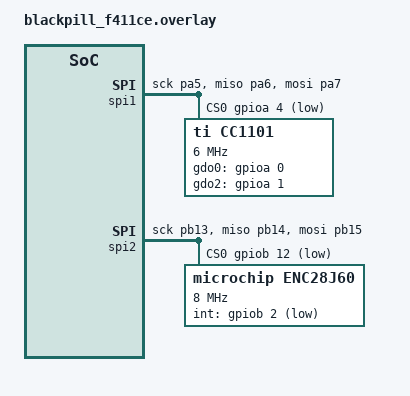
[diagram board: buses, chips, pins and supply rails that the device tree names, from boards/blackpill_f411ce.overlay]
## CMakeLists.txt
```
cmake_minimum_required(VERSION 3.20.0)
find_package(Zephyr REQUIRED HINTS $ENV{ZEPHYR_BASE})
project(tado_cc1101_receiver)

target_sources(app PRIVATE
    src/cc1101.c
    src/ha_client.c
    src/main.c
)
```

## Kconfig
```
mainmenu "TADO CC1101 Receiver"

source "Kconfig.zephyr"

menu "Home Assistant"

config HA_SERVER_IP
	string "Home Assistant server IP address"
	default "192.168.1.248"

config HA_SERVER_PORT
	int "Home Assistant server port"
	default 8123

config HA_LONG_LIVED_TOKEN
	string "Home Assistant long-lived access token"
	default ""

endmenu
```

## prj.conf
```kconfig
# Serial / Console
CONFIG_SERIAL=y
CONFIG_UART_INTERRUPT_DRIVEN=y
CONFIG_CONSOLE=y
CONFIG_UART_CONSOLE=y

# GPIO
CONFIG_GPIO=y

# SPI
CONFIG_SPI=y
CONFIG_SPI_STM32_INTERRUPT=n

# Logging
CONFIG_LOG=y
CONFIG_PRINTK=y

# Stack / MPU
CONFIG_ARM_MPU=y
CONFIG_HW_STACK_PROTECTION=y

# Networking
CONFIG_NETWORKING=y
CONFIG_NET_L2_ETHERNET=y
CONFIG_NET_IPV4=y
CONFIG_NET_IPV6=n
CONFIG_NET_DHCPV4=y
CONFIG_NET_ARP=y
CONFIG_NET_UDP=y
CONFIG_NET_TCP=y
CONFIG_NET_TCP_TIME_WAIT_DELAY=0
CONFIG_NET_SOCKETS=y
CONFIG_NET_CONFIG_SETTINGS=n

# Network buffers
CONFIG_NET_PKT_RX_COUNT=10
CONFIG_NET_PKT_TX_COUNT=10
CONFIG_NET_BUF_RX_COUNT=20
CONFIG_NET_BUF_TX_COUNT=20
CONFIG_NET_MAX_CONTEXTS=8

# Network management events
CONFIG_NET_MGMT=y
CONFIG_NET_MGMT_EVENT=y
CONFIG_NET_MGMT_EVENT_INFO=y

# ENC28J60 driver
CONFIG_ETH_ENC28J60=y
CONFIG_ETH_ENC28J60_CLKRDY_INIT_WAIT_MS=500
CONFIG_ETH_ENC28J60_RX_THREAD_STACK_SIZE=2048

# Entropy / random number generator (required by networking)
CONFIG_ENTROPY_GENERATOR=y
CONFIG_TEST_RANDOM_GENERATOR=y

# Thread stacks (networking needs more)
CONFIG_MAIN_STACK_SIZE=4096
CONFIG_SYSTEM_WORKQUEUE_STACK_SIZE=4096
CONFIG_NET_RX_STACK_SIZE=4096
CONFIG_NET_TX_STACK_SIZE=2048
CONFIG_NET_MGMT_EVENT_STACK_SIZE=4096

# HTTP client
CONFIG_HTTP_CLIENT=y
CONFIG_HTTP_PARSER=y
CONFIG_HTTP_PARSER_URL=y

# Home Assistant
CONFIG_HA_SERVER_IP="192.168.1.248"
CONFIG_HA_SERVER_PORT=8123
CONFIG_HA_LONG_LIVED_TOKEN="eyJhbGciOiJIUzI1NiIsInR5cCI6IkpXVCJ9.eyJpc3MiOiI0NDBiNWNiYmU2ODQ0YzQ1OWQzY2YzY2ZjYjcxNjNlNSIsImlhdCI6MTc3ODYyMDM2MCwiZXhwIjoyMDkzOTgwMzYwfQ.2nTJXxqT6kt5Z0gOvMKW4DaY6RnnXOB4O1CUAFeYb3I"

# Flash (persist webhook_id across reboots)
CONFIG_FLASH=y
CONFIG_FLASH_MAP=y
CONFIG_FLASH_PAGE_LAYOUT=y
```

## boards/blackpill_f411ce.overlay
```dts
/* Override SPI1: remove hardware NSS, use GPIO-controlled CS instead */
&spi1 {
	pinctrl-0 = <&spi1_sck_pa5 &spi1_miso_pa6 &spi1_mosi_pa7>;
	pinctrl-names = "default";
	status = "okay";
	cs-gpios = <&gpioa 4 GPIO_ACTIVE_LOW>;

	cc1101: cc1101@0 {
		compatible = "ti,cc1101";
		reg = <0>;
		spi-max-frequency = <6000000>;
		gdo0-gpios = <&gpioa 0 GPIO_ACTIVE_HIGH>;
		gdo2-gpios = <&gpioa 1 GPIO_ACTIVE_HIGH>;
		status = "okay";
	};
};

/* ENC28J60 Ethernet on SPI2 */
&spi2 {
	pinctrl-0 = <&spi2_sck_pb13 &spi2_miso_pb14 &spi2_mosi_pb15>;
	pinctrl-names = "default";
	status = "okay";
	cs-gpios = <&gpiob 12 GPIO_ACTIVE_LOW>;

	enc28j60: enc28j60@0 {
		compatible = "microchip,enc28j60";
		reg = <0>;
		spi-max-frequency = <8000000>;
		int-gpios = <&gpiob 2 GPIO_ACTIVE_LOW>;
		local-mac-address = [02 00 00 00 00 01];
		status = "okay";
	};
};

/* Remove MCUboot partitions we don't use, add NVS storage partition.
 * STM32F411CE sectors 6+7 (each 128 KB) at offsets 0x40000-0x7FFFF. */
/delete-node/ &boot_partition;
/delete-node/ &slot0_partition;
/delete-node/ &slot1_partition;
/delete-node/ &scratch_partition;

&flash0 {
	partitions {
		compatible = "fixed-partitions";
		#address-cells = <1>;
		#size-cells = <1>;

		storage_partition: partition@40000 {
			label = "storage";
			reg = <0x40000 0x40000>;
		};
	};
};
```

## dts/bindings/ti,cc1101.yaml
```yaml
description: Texas Instruments CC1101 Sub-1GHz RF Transceiver

compatible: "ti,cc1101"

include: spi-device.yaml

properties:
  gdo0-gpios:
    type: phandle-array
    description: GDO0 output pin (active high)
  gdo2-gpios:
    type: phandle-array
    description: GDO2 output pin (active high)
```

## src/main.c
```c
/*
 * TADO CC1101 Receiver — Zephyr application
 *
 * SPDX-License-Identifier: Apache-2.0
 */

#include <zephyr/kernel.h>
#include <zephyr/logging/log.h>
#include <zephyr/net/net_if.h>

#include <zephyr/net/dhcpv4.h>
#include <zephyr/net/net_event.h>
#include <zephyr/net/net_mgmt.h>

#include "cc1101.h"
#include "ha_client.h"

LOG_MODULE_REGISTER(main, CONFIG_LOG_DEFAULT_LEVEL);

/* ── Sensor state tracking ──────────────────────────────────────────── */

#define MAX_SENSORS 16
#define PAYLOAD_LEN_OLD 7
#define PAYLOAD_LEN_NEW 9

typedef struct sensor_state {
  uint32_t device_id;

  // Values from last packet (0 or 1, or 0xFF if unknown)
  uint8_t tamper;
  uint8_t reed;
  uint16_t battery_mv;

  // Values last sent to HA, for change detection
  uint8_t tamper_sent;
  uint8_t reed_sent;
  uint16_t battery_mv_sent;

  // Additional for metrics
  int rssi;
  uint8_t lqi;

} sensor_state_t;

static sensor_state_t sensors[MAX_SENSORS];
static int sensor_count;

static sensor_state_t *find_or_add_sensor(uint32_t dev_id) {
  for (int i = 0; i < sensor_count; i++) {
    if (sensors[i].device_id == dev_id) {
      return &sensors[i];
    }
  }
  if (sensor_count < MAX_SENSORS) {
    sensor_state_t *s = &sensors[sensor_count];
    s->device_id = dev_id;
    s->tamper = 0xFF; /* force first update */
    s->reed = 0xFF;
    s->battery_mv = 0xFFFF;
    s->tamper_sent = 0xFF;
    s->reed_sent = 0xFF;
    s->battery_mv_sent = 0xFFFF;

    return &sensors[sensor_count++];
  }
  return NULL;
}

static bool verify_checksum(const uint8_t *payload, uint8_t len) {
  uint8_t xor_val = 0;
  for (int i = 0; i < len - 1; i++) {
    xor_val ^= payload[i];
  }
  return xor_val == payload[len - 1];
}

static void process_packet(const uint8_t *payload, uint8_t len, int rssi,
                           uint8_t lqi) {
  if (len != PAYLOAD_LEN_OLD && len != PAYLOAD_LEN_NEW) {
    LOG_WRN("Unexpected payload length: %d", len);
    return;
  }

  if (!verify_checksum(payload, len)) {
    LOG_WRN("Checksum mismatch");
    return;
  }

  uint32_t dev_id = ((uint32_t)payload[0] << 24) |
                    ((uint32_t)payload[1] << 16) | ((uint32_t)payload[2] << 8) |
                    payload[3];

  sensor_state_t *s = find_or_add_sensor(dev_id);
  if (!s) {
    LOG_WRN("Sensor table full, ignoring %08x", dev_id);
    return;
  }

  s->tamper = payload[4];
  s->reed = payload[5];

  if (len == PAYLOAD_LEN_NEW) {
    s->battery_mv = ((uint16_t)payload[6] << 8) | payload[7];
  }
  s->rssi = rssi;
  s->lqi = lqi;

  LOG_INF("Sensor %08x: tamper=%u reed=%u batt=%umV RSSI=%d LQI=%u", dev_id,
          s->tamper, s->reed, s->battery_mv, s->rssi, s->lqi);
}

static void sync_sensors_to_ha(void) {
  for (int i = 0; i < sensor_count; i++) {
    sensor_state_t *s = &sensors[i];

    if (s->tamper != s->tamper_sent) {
      int ret = ha_update_sensor(s->device_id, "tamper", s->tamper != 0,
                                 s->rssi, s->lqi);
      if (ret < 0) {
        LOG_WRN("Failed to update %08x_%s: %d", s->device_id, "tamper", ret);
      } else {
        s->tamper_sent = s->tamper;
      }
    }

    if (s->reed != s->reed_sent) {
      int ret =
          ha_update_sensor(s->device_id, "reed", s->reed != 0, s->rssi, s->lqi);
      if (ret < 0) {
        LOG_WRN("Failed to update %08x_%s: %d", s->device_id, "reed", ret);
      } else {
        s->reed_sent = s->reed;
      }
    }

    if (s->battery_mv != s->battery_mv_sent) {
      int ret = ha_update_battery(s->device_id, s->battery_mv, s->rssi, s->lqi);
      if (ret < 0) {
        LOG_WRN("Failed to update %08x_%s: %d", s->device_id, "battery_mv",
                ret);
      } else {
        s->battery_mv_sent = s->battery_mv;
      }
    }
  }
}

static struct net_mgmt_event_callback mgmt_cb;
static bool got_ip = false;

static void net_event_handler(struct net_mgmt_event_callback *cb,
                              uint64_t mgmt_event, struct net_if *iface) {
  if (mgmt_event == NET_EVENT_IPV4_DHCP_BOUND) {
    char buf[NET_IPV4_ADDR_LEN];

    LOG_INF("DHCP bound: %s",
            net_addr_ntop(AF_INET, &iface->config.dhcpv4.requested_ip, buf,
                          sizeof(buf)));
    got_ip = true;
  }
}

static void start_dhcp(void) {
  struct net_if *iface = net_if_get_default();

  if (!iface) {
    LOG_ERR("No network interface found");
    return;
  }

  net_mgmt_init_event_callback(&mgmt_cb, net_event_handler,
                               NET_EVENT_IPV4_DHCP_BOUND);
  net_mgmt_add_event_callback(&mgmt_cb);

  net_dhcpv4_start(iface);
  LOG_INF("DHCP client started");
}

static uint8_t buffer[64];

int main(void) {
  LOG_INF("TADO CC1101 Receiver");

  /* Start DHCP to obtain an IP address */
  start_dhcp();

  int ret = cc1101_init();
  if (ret < 0) {
    LOG_ERR("CC1101 init failed: %d", ret);
    return ret;
  }
  LOG_INF("C1101 OK");

  /* Enter RX mode */
  cc1101_set_rx();
  LOG_INF("Listening for packets...");

  while (1) {

    // Read data from radio, block max one second so we do reattempts on sending
    // sensor data in-between
    if (cc1101_wait_rx_packet(K_SECONDS(1)) == 0) {
      if (cc1101_check_crc()) {
        uint8_t len = cc1101_receive_data(buffer);
        if (len > 0) {
          int rssi = cc1101_get_rssi();
          uint8_t lqi = cc1101_get_lqi();

          LOG_INF("LENGTH: %d RSSI: %d LQI: %d", len, rssi, lqi);
          LOG_HEXDUMP_INF(buffer, len, "RX data");

          process_packet(buffer, len, rssi, lqi);
        }
      }
    } else {
      LOG_DBG("No packet received");
    }

    if (got_ip) {

      if (!ha_is_registered()) {
        /* Register with Home Assistant */
        LOG_INF("Registering with Home Assistant...");
        int ha_ret = ha_init();
        if (ha_ret < 0) {
          LOG_WRN("HA registration failed: %d (will retry)", ha_ret);
        } else {
          LOG_INF("HA registered, waiting for sensor data...");
        }
      }

      if (ha_is_registered()) {
        sync_sensors_to_ha();
      }
    }

    k_msleep(1);
  }
  return 0;
}
```

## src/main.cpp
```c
#include <Arduino.h>
#include <SPI.h>

#include <ELECHOUSE_CC1101_SRC_DRV.h>

void setup() {
  Serial.setRx(PA10);
  Serial.setTx(PA9);
  Serial.begin(115200);
  delay(1000);
  ELECHOUSE_cc1101.setSpiPin(PA5, PA6, PA7, PA4);
  ELECHOUSE_cc1101.setGDO(PA0, PA1);
  if (ELECHOUSE_cc1101.getCC1101()) { // Check the CC1101 Spi connection.
    Serial.println("Connection OK");
  } else {
    Serial.println("Connection Error");
  }

  ELECHOUSE_cc1101.Init(); // must be set to initialize the cc1101!
  // ELECHOUSE_cc1101.setCCMode(1); // set config for internal transmission
  // mode.

  // Radio configuration per PROTOCOL.md
  ELECHOUSE_cc1101.setModulation(1);  // GFSK (transmitter uses MOD_FORMAT=001)
  ELECHOUSE_cc1101.setMHZ(868.0);     // 868.0 MHz
  ELECHOUSE_cc1101.setDeviation(5.2); // 5.2 kHz
  ELECHOUSE_cc1101.setChannel(0);
  ELECHOUSE_cc1101.setChsp(200);
  ELECHOUSE_cc1101.setRxBW(58);             // 58 kHz RX bandwidth
  ELECHOUSE_cc1101.setDRate(1.2);           // 1.2 kbps
  ELECHOUSE_cc1101.setPA(12);               // +10 dBm (PA_TABLE 0xC0)
  ELECHOUSE_cc1101.setSyncMode(3);          // 30/32 sync word detect
  ELECHOUSE_cc1101.setSyncWord(0xD3, 0x91); // 0xD391D391
  ELECHOUSE_cc1101.setAdrChk(0);            // No address check
  ELECHOUSE_cc1101.setAddr(0);
  ELECHOUSE_cc1101.setWhiteData(0);      // Data whitening disabled
  ELECHOUSE_cc1101.setPktFormat(0);      // Normal mode
  ELECHOUSE_cc1101.setLengthConfig(1);   // Variable packet length
  ELECHOUSE_cc1101.setPacketLength(255); // Max packet length
  ELECHOUSE_cc1101.setCrc(1);            // CRC enabled
  ELECHOUSE_cc1101.setCRC_AF(0);         // No auto flush on bad CRC
  ELECHOUSE_cc1101.setDcFilterOff(0);    // DC filter enabled
  ELECHOUSE_cc1101.setManchester(0);
  ELECHOUSE_cc1101.setFEC(0);
  ELECHOUSE_cc1101.setPRE(2); // 4-byte preamble
  ELECHOUSE_cc1101.setPQT(0);
  ELECHOUSE_cc1101.setAppendStatus(1); // Append RSSI+LQI+CRC_OK

  // Direct register writes per PROTOCOL.md
  ELECHOUSE_cc1101.SpiWriteReg(CC1101_FIFOTHR, 0x47); // RX FIFO threshold
  ELECHOUSE_cc1101.SpiWriteReg(CC1101_FSCTRL1, 0x06); // IF frequency
  ELECHOUSE_cc1101.SpiWriteReg(CC1101_FOCCFG, 0x16); // Freq offset compensation
  ELECHOUSE_cc1101.SpiWriteReg(CC1101_BSCFG, 0x6C);  // Bit sync config
  ELECHOUSE_cc1101.SpiWriteReg(CC1101_AGCCTRL2, 0x03);
  ELECHOUSE_cc1101.SpiWriteReg(CC1101_AGCCTRL1, 0x40);
  ELECHOUSE_cc1101.SpiWriteReg(CC1101_AGCCTRL0, 0x91);
  ELECHOUSE_cc1101.SpiWriteReg(CC1101_FREND1, 0xB6); // Front-end RX
  ELECHOUSE_cc1101.SpiWriteReg(CC1101_FREND0, 0x10); // Front-end TX
  ELECHOUSE_cc1101.SpiWriteReg(CC1101_FSCAL3, 0xE9); // Freq synth cal
  ELECHOUSE_cc1101.SpiWriteReg(CC1101_FSCAL2, 0x2A);
  ELECHOUSE_cc1101.SpiWriteReg(CC1101_FSCAL1, 0x00);
  ELECHOUSE_cc1101.SpiWriteReg(CC1101_FSCAL0, 0x1F);
  ELECHOUSE_cc1101.SpiWriteReg(CC1101_TEST2, 0x81);
  ELECHOUSE_cc1101.SpiWriteReg(CC1101_TEST1, 0x35);
  ELECHOUSE_cc1101.SpiWriteReg(CC1101_TEST0, 0x09);
  ELECHOUSE_cc1101.SpiWriteReg(CC1101_IOCFG0,
                               0x06); // GDO0: sync word (Init sets 0x0D)
  ELECHOUSE_cc1101.SpiWriteReg(
      CC1101_DEVIATN, 0x15); // Exact match transmitter (library gives 0x16)

  Serial.println("Rx Mode");
  ELECHOUSE_cc1101.SpiWriteReg(
      CC1101_FSCTRL0,
      0x0); // reset frequency offset to 0 (Init sets 0x08)

#if 0
  Serial.printf("Partnum: %x\r\n",
                ELECHOUSE_cc1101.SpiReadStatus(CC1101_PARTNUM));
  Serial.printf("Version: %x\r\n",
                ELECHOUSE_cc1101.SpiReadStatus(CC1101_VERSION));
  Serial.printf("FREQEST: %x\r\n",
                ELECHOUSE_cc1101.SpiReadStatus(CC1101_FREQEST));
  Serial.printf("LQI: %x\r\n", ELECHOUSE_cc1101.SpiReadStatus(CC1101_LQI));
  Serial.printf("RSSI: %x\r\n", ELECHOUSE_cc1101.SpiReadStatus(CC1101_RSSI));
  Serial.printf("MARCSTATE: %x\r\n",
                ELECHOUSE_cc1101.SpiReadStatus(CC1101_MARCSTATE));
  Serial.printf("WORTIME1: %x\r\n",
                ELECHOUSE_cc1101.SpiReadStatus(CC1101_WORTIME1));
  Serial.printf("WORTIME0: %x\r\n",
                ELECHOUSE_cc1101.SpiReadStatus(CC1101_WORTIME0));
  Serial.printf("PKTSTATUS: %x\r\n",
                ELECHOUSE_cc1101.SpiReadStatus(CC1101_PKTSTATUS));
  Serial.printf("CC1101_VCO_VC_DAC: %x\r\n",
                ELECHOUSE_cc1101.SpiReadStatus(CC1101_VCO_VC_DAC));
  Serial.printf("TXBYTES: %x\r\n",
                ELECHOUSE_cc1101.SpiReadStatus(CC1101_TXBYTES));
  Serial.printf("RXBYTES: %x\r\n",
                ELECHOUSE_cc1101.SpiReadStatus(CC1101_RXBYTES));
#endif

#if 1
  // Read all registers from 0x00 to 0x3F
  // for (int i = 0; i < 0x3F; i++) {
  //  Serial.printf("REG: %02X: %02X\r\n", i, ELECHOUSE_cc1101.SpiReadReg(i));
  //}
#endif
  Serial.println("Listening for packets...");
}
byte buffer[1024] = {0};

bool buffer_is_empty(int len) {
  for (int i = 0; i < len; i++) {
    if (buffer[i] != 0xff) {
      return false;
    }
  }
  return true;
}

void loop() {

  // Checks whether something has been received.
  // When something is received we give some time to receive the message in
  // full.(time in millis)
  if (ELECHOUSE_cc1101.CheckRxFifo(100)) {

    // CRC Check. If "setCrc(false)" crc returns always OK!
    if (ELECHOUSE_cc1101.CheckCRC()) {

      // Get received Data and calculate length
      int len = ELECHOUSE_cc1101.ReceiveData(buffer);

      // If any of the bytes returned by len is not 0xff
      Serial.printf("\r\nLENGTH: %d RSSI: %d LQT: %d\r\n", len,
                    ELECHOUSE_cc1101.getRssi(), ELECHOUSE_cc1101.getLqi());

      // Print received in bytes format.
      for (int i = 0; i < len; i++) {
        // if (i > 0) {
        //   Serial.print(", ");
        // }
        Serial.printf("%02X ", buffer[i]);
      }
      Serial.println();
    }
  }
}
```

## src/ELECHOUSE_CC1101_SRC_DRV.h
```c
/*
  ELECHOUSE_CC1101.cpp - CC1101 module library
  Copyright (c) 2010 Michael.
    Author: Michael, <www.elechouse.com>
    Version: November 12, 2010

  This library is designed to use CC1101/CC1100 module on Arduino platform.
  CC1101/CC1100 module is an useful wireless module.Using the functions of the
  library, you can easily send and receive data by the CC1101/CC1100 module.
  Just have fun!
  For the details, please refer to the datasheet of CC1100/CC1101.
----------------------------------------------------------------------------------------------------------------
cc1101 Driver for RC Switch. Mod by Little Satan. With permission to modify and
publish Wilson Shen (ELECHOUSE).
----------------------------------------------------------------------------------------------------------------
*/
#ifndef ELECHOUSE_CC1101_SRC_DRV_h
#define ELECHOUSE_CC1101_SRC_DRV_h

#include <Arduino.h>

//***************************************CC1101
// define**************************************************//
// CC1101 CONFIG REGSITER
#define CC1101_IOCFG2 0x00   // GDO2 output pin configuration
#define CC1101_IOCFG1 0x01   // GDO1 output pin configuration
#define CC1101_IOCFG0 0x02   // GDO0 output pin configuration
#define CC1101_FIFOTHR 0x03  // RX FIFO and TX FIFO thresholds
#define CC1101_SYNC1 0x04    // Sync word, high INT8U
#define CC1101_SYNC0 0x05    // Sync word, low INT8U
#define CC1101_PKTLEN 0x06   // Packet length
#define CC1101_PKTCTRL1 0x07 // Packet automation control
#define CC1101_PKTCTRL0 0x08 // Packet automation control
#define CC1101_ADDR 0x09     // Device address
#define CC1101_CHANNR 0x0A   // Channel number
#define CC1101_FSCTRL1 0x0B  // Frequency synthesizer control
#define CC1101_FSCTRL0 0x0C  // Frequency synthesizer control
#define CC1101_FREQ2 0x0D    // Frequency control word, high INT8U
#define CC1101_FREQ1 0x0E    // Frequency control word, middle INT8U
#define CC1101_FREQ0 0x0F    // Frequency control word, low INT8U
#define CC1101_MDMCFG4 0x10  // Modem configuration
#define CC1101_MDMCFG3 0x11  // Modem configuration
#define CC1101_MDMCFG2 0x12  // Modem configuration
#define CC1101_MDMCFG1 0x13  // Modem configuration
#define CC1101_MDMCFG0 0x14  // Modem configuration
#define CC1101_DEVIATN 0x15  // Modem deviation setting
#define CC1101_MCSM2 0x16    // Main Radio Control State Machine configuration
#define CC1101_MCSM1 0x17    // Main Radio Control State Machine configuration
#define CC1101_MCSM0 0x18    // Main Radio Control State Machine configuration
#define CC1101_FOCCFG 0x19   // Frequency Offset Compensation configuration
#define CC1101_BSCFG 0x1A    // Bit Synchronization configuration
#define CC1101_AGCCTRL2 0x1B // AGC control
#define CC1101_AGCCTRL1 0x1C // AGC control
#define CC1101_AGCCTRL0 0x1D // AGC control
#define CC1101_WOREVT1 0x1E  // High INT8U Event 0 timeout
#define CC1101_WOREVT0 0x1F  // Low INT8U Event 0 timeout
#define CC1101_WORCTRL 0x20  // Wake On Radio control
#define CC1101_FREND1 0x21   // Front end RX configuration
#define CC1101_FREND0 0x22   // Front end TX configuration
#define CC1101_FSCAL3 0x23   // Frequency synthesizer calibration
#define CC1101_FSCAL2 0x24   // Frequency synthesizer calibration
#define CC1101_FSCAL1 0x25   // Frequency synthesizer calibration
#define CC1101_FSCAL0 0x26   // Frequency synthesizer calibration
#define CC1101_RCCTRL1 0x27  // RC oscillator configuration
#define CC1101_RCCTRL0 0x28  // RC oscillator configuration
#define CC1101_FSTEST 0x29   // Frequency synthesizer calibration control
#define CC1101_PTEST 0x2A    // Production test
#define CC1101_AGCTEST 0x2B  // AGC test
#define CC1101_TEST2 0x2C    // Various test settings
#define CC1101_TEST1 0x2D    // Various test settings
#define CC1101_TEST0 0x2E    // Various test settings

// CC1101 Strobe commands
#define CC1101_SRES 0x30 // Reset chip.
#define CC1101_SFSTXON                                                         \
  0x31 // Enable and calibrate frequency synthesizer (if MCSM0.FS_AUTOCAL=1).
       // If in RX/TX: Go to a wait state where only the synthesizer is
       // running (for quick RX / TX turnaround).
#define CC1101_SXOFF 0x32 // Turn off crystal oscillator.
#define CC1101_SCAL                                                            \
  0x33 // Calibrate frequency synthesizer and turn it off
       // (enables quick start).
#define CC1101_SRX                                                             \
  0x34 // Enable RX. Perform calibration first if coming from IDLE and
       // MCSM0.FS_AUTOCAL=1.
#define CC1101_STX                                                             \
  0x35 // In IDLE state: Enable TX. Perform calibration first if
       // MCSM0.FS_AUTOCAL=1. If in RX state and CCA is enabled:
       // Only go to TX if channel is clear.
#define CC1101_SIDLE                                                           \
  0x36 // Exit RX / TX, turn off frequency synthesizer and exit
       // Wake-On-Radio mode if applicable.
#define CC1101_SAFC 0x37 // Perform AFC adjustment of the frequency synthesizer
#define CC1101_SWOR 0x38 // Start automatic RX polling sequence (Wake-on-Radio)
#define CC1101_SPWD 0x39 // Enter power down mode when CSn goes high.
#define CC1101_SFRX 0x3A // Flush the RX FIFO buffer.
#define CC1101_SFTX 0x3B // Flush the TX FIFO buffer.
#define CC1101_SWORRST 0x3C // Reset real time clock.
#define CC1101_SNOP                                                            \
  0x3D // No operation. May be used to pad strobe commands to two
       // INT8Us for simpler software.
// CC1101 STATUS REGSITER
#define CC1101_PARTNUM 0x30
#define CC1101_VERSION 0x31
#define CC1101_FREQEST 0x32
#define CC1101_LQI 0x33
#define CC1101_RSSI 0x34
#define CC1101_MARCSTATE 0x35
#define CC1101_WORTIME1 0x36
#define CC1101_WORTIME0 0x37
#define CC1101_PKTSTATUS 0x38
#define CC1101_VCO_VC_DAC 0x39
#define CC1101_TXBYTES 0x3A
#define CC1101_RXBYTES 0x3B

// CC1101 PATABLE,TXFIFO,RXFIFO
#define CC1101_PATABLE 0x3E
#define CC1101_TXFIFO 0x3F
#define CC1101_RXFIFO 0x3F

//************************************* class
//**************************************************//
class ELECHOUSE_CC1101 {
private:
  void SpiStart(void);
  void SpiEnd(void);
  void GDO_Set(void);
  void GDO0_Set(void);
  void Reset(void);
  void setSpi(void);
  void RegConfigSettings(void);
  void Calibrate(void);
  void Split_PKTCTRL0(void);
  void Split_PKTCTRL1(void);
  void Split_MDMCFG1(void);
  void Split_MDMCFG2(void);
  void Split_MDMCFG4(void);

public:
  void Init(void);
  byte SpiReadStatus(byte addr);
  void setSpiPin(byte sck, byte miso, byte mosi, byte ss);
  void addSpiPin(byte sck, byte miso, byte mosi, byte ss, byte modul);
  void setGDO(byte gdo0, byte gdo2);
  void setGDO0(byte gdo0);
  void addGDO(byte gdo0, byte gdo2, byte modul);
  void addGDO0(byte gdo0, byte modul);
  void setModul(byte modul);
  void setCCMode(bool s);
  void setModulation(byte m);
  void setPA(int p);
  void setMHZ(float mhz);
  void setChannel(byte chnl);
  void setChsp(float f);
  void setRxBW(float f);
  void setDRate(float d);
  void setDeviation(float d);
  void SetTx(void);
  void SetRx(void);
  void SetTx(float mhz);
  void SetRx(float mhz);
  int getRssi(void);
  byte getLqi(void);
  void setSres(void);
  void setSidle(void);
  void goSleep(void);
  void SendData(byte *txBuffer, byte size);
  void SendData(char *txchar);
  void SendData(byte *txBuffer, byte size, int t);
  void SendData(char *txchar, int t);
  byte CheckReceiveFlag(void);
  byte ReceiveData(byte *rxBuffer);
  bool CheckCRC(void);
  void SpiStrobe(byte strobe);
  void SpiWriteReg(byte addr, byte value);
  void SpiWriteBurstReg(byte addr, byte *buffer, byte num);
  byte SpiReadReg(byte addr);
  void SpiReadBurstReg(byte addr, byte *buffer, byte num);
  void setClb(byte b, byte s, byte e);
  bool getCC1101(void);
  byte getMode(void);
  void setSyncWord(byte sh, byte sl);
  void setAddr(byte v);
  void setWhiteData(bool v);
  void setPktFormat(byte v);
  void setCrc(bool v);
  void setLengthConfig(byte v);
  void setPacketLength(byte v);
  void setDcFilterOff(bool v);
  void setManchester(bool v);
  void setSyncMode(byte v);
  void setFEC(bool v);
  void setPRE(byte v);
  void setPQT(byte v);
  void setCRC_AF(bool v);
  void setAppendStatus(bool v);
  void setAdrChk(byte v);
  bool CheckRxFifo(int t);
};

extern ELECHOUSE_CC1101 ELECHOUSE_cc1101;

#endif
```

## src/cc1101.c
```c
/*
 * CC1101 Sub-1GHz RF Transceiver — Zephyr SPI driver
 *
 * SPDX-License-Identifier: Apache-2.0
 */

#include "cc1101.h"

#include <zephyr/device.h>
#include <zephyr/drivers/gpio.h>
#include <zephyr/drivers/spi.h>
#include <zephyr/kernel.h>
#include <zephyr/logging/log.h>

LOG_MODULE_REGISTER(cc1101, CONFIG_LOG_DEFAULT_LEVEL);

/* ── SPI access constants ───────────────────────────────────────────── */
#define WRITE_BURST 0x40
#define READ_SINGLE 0x80
#define READ_BURST 0xC0
#define BYTES_IN_RXFIFO 0x7F

/* ── Devicetree SPI spec ────────────────────────────────────────────── */
static struct spi_dt_spec cc1101_spi =
    SPI_DT_SPEC_GET(DT_NODELABEL(cc1101),
                    SPI_OP_MODE_MASTER | SPI_WORD_SET(8) | SPI_TRANSFER_MSB, 0);

/* ── GDO0 interrupt (end-of-packet) ─────────────────────────────────── */
static const struct gpio_dt_spec gdo0 =
    GPIO_DT_SPEC_GET(DT_NODELABEL(cc1101), gdo0_gpios);
static struct gpio_callback gdo0_cb_data;
static K_SEM_DEFINE(rx_sem, 0, 1);

static void gdo0_isr(const struct device *dev, struct gpio_callback *cb,
                     uint32_t pins) {
  k_sem_give(&rx_sem);
}

/* ── Low-level SPI helpers ──────────────────────────────────────────── */

static void cc1101_strobe(uint8_t strobe) {
  uint8_t tx = strobe;
  struct spi_buf tx_buf = {.buf = &tx, .len = 1};
  struct spi_buf_set tx_set = {.buffers = &tx_buf, .count = 1};

  spi_write_dt(&cc1101_spi, &tx_set);
}

void cc1101_write_reg(uint8_t addr, uint8_t value) {
  uint8_t tx[2] = {addr, value};
  struct spi_buf tx_buf = {.buf = tx, .len = 2};
  struct spi_buf_set tx_set = {.buffers = &tx_buf, .count = 1};

  spi_write_dt(&cc1101_spi, &tx_set);
}

static void cc1101_write_burst(uint8_t addr, const uint8_t *data, uint8_t len) {
  uint8_t hdr = addr | WRITE_BURST;
  struct spi_buf tx_bufs[2] = {
      {.buf = &hdr, .len = 1},
      {.buf = (void *)data, .len = len},
  };
  struct spi_buf_set tx_set = {.buffers = tx_bufs, .count = 2};

  spi_write_dt(&cc1101_spi, &tx_set);
}

uint8_t cc1101_read_reg(uint8_t addr) {
  uint8_t tx[2] = {addr | READ_SINGLE, 0x00};
  uint8_t rx[2] = {0};
  struct spi_buf tx_buf = {.buf = tx, .len = 2};
  struct spi_buf_set tx_set = {.buffers = &tx_buf, .count = 1};
  struct spi_buf rx_buf = {.buf = rx, .len = 2};
  struct spi_buf_set rx_set = {.buffers = &rx_buf, .count = 1};

  spi_transceive_dt(&cc1101_spi, &tx_set, &rx_set);
  return rx[1];
}

uint8_t cc1101_read_status_reg(uint8_t addr) {
  uint8_t tx[2] = {(uint8_t)(addr | READ_BURST), 0x00};
  uint8_t rx[2] = {0};
  struct spi_buf tx_buf = {.buf = tx, .len = 2};
  struct spi_buf_set tx_set = {.buffers = &tx_buf, .count = 1};
  struct spi_buf rx_buf = {.buf = rx, .len = 2};
  struct spi_buf_set rx_set = {.buffers = &rx_buf, .count = 1};

  spi_transceive_dt(&cc1101_spi, &tx_set, &rx_set);
  return rx[1];
}

static void cc1101_read_burst(uint8_t addr, uint8_t *buf, uint8_t len) {
  uint8_t hdr = addr | READ_BURST;

  /* TX: header + len dummy bytes */
  uint8_t tx_dummy[65];

  tx_dummy[0] = hdr;
  memset(&tx_dummy[1], 0, len);

  uint8_t rx_all[65];

  struct spi_buf tx_buf = {.buf = tx_dummy, .len = (size_t)(1 + len)};
  struct spi_buf_set tx_set = {.buffers = &tx_buf, .count = 1};
  struct spi_buf rx_buf = {.buf = rx_all, .len = (size_t)(1 + len)};
  struct spi_buf_set rx_set = {.buffers = &rx_buf, .count = 1};

  spi_transceive_dt(&cc1101_spi, &tx_set, &rx_set);
  memcpy(buf, &rx_all[1], len);
}

/* ── CC1101 register configuration (matches transmitter exactly) ───── */

static const uint8_t cc1101_config[][2] = {
    {CC1101_IOCFG0, 0x06},  /* GDO0: asserts on sync, deasserts end-of-packet */
    {CC1101_FIFOTHR, 0x47}, /* RX FIFO threshold 33 bytes */
    {CC1101_PKTCTRL0, 0x05}, /* Variable length, CRC on, whitening off */
    {CC1101_PKTCTRL1, 0x04}, /* Append status (RSSI+LQI), no addr check */
    {CC1101_FSCTRL1, 0x06},  /* IF frequency 152.3 kHz */
    {CC1101_FSCTRL0, 0x00},  /* No frequency offset */
    {CC1101_FREQ2, 0x21},    /* 868.0 MHz */
    {CC1101_FREQ1, 0x62},    {CC1101_FREQ0, 0x76},
    {CC1101_MDMCFG4, 0xF5}, /* RX BW 58 kHz, DRATE_E=5 */
    {CC1101_MDMCFG3, 0x83}, /* DRATE_M=131 -> 1.2 kbps */
    {CC1101_MDMCFG2, 0x13}, /* GFSK, 30/32 sync detect */
    {CC1101_MDMCFG1, 0x22}, /* 4-byte preamble, FEC off */
    {CC1101_DEVIATN, 0x15}, /* 5.2 kHz deviation */
    {CC1101_MCSM0, 0x18},   /* Auto-cal from IDLE->RX/TX */
    {CC1101_FOCCFG, 0x16},  /* Freq offset compensation */
    {CC1101_BSCFG, 0x6C},   /* Bit sync config */
    {CC1101_AGCCTRL2, 0x03}, {CC1101_AGCCTRL1, 0x40},
    {CC1101_AGCCTRL0, 0x91}, {CC1101_FREND1, 0xB6}, /* Front-end RX */
    {CC1101_FREND0, 0x10}, /* Front-end TX, PA index 0 */
    {CC1101_FSCAL3, 0xE9}, /* Freq synth cal */
    {CC1101_FSCAL2, 0x2A},   {CC1101_FSCAL1, 0x00},
    {CC1101_FSCAL0, 0x1F},   {CC1101_FSTEST, 0x59},
    {CC1101_TEST2, 0x81},    {CC1101_TEST1, 0x35},
    {CC1101_TEST0, 0x09},    {CC1101_SYNC1, 0xD3}, /* Sync word 0xD391 */
    {CC1101_SYNC0, 0x91},    {CC1101_ADDR, 0x00},
    {CC1101_PKTLEN, 0xFF}, /* Max packet length */
};

/* PA table: +10 dBm at 868 MHz */
static const uint8_t pa_table[8] = {0xC0, 0x00, 0x00, 0x00,
                                    0x00, 0x00, 0x00, 0x00};

/* ── Public API ─────────────────────────────────────────────────────── */

int cc1101_init(void) {
  if (!spi_is_ready_dt(&cc1101_spi)) {
    LOG_ERR("SPI bus not ready");
    return -ENODEV;
  }

  /* Reset */
  cc1101_strobe(CC1101_SRES);
  k_msleep(10);

  /* Check chip presence (VERSION register should be non-zero) */
  uint8_t ver = cc1101_read_status_reg(CC1101_VERSION);
  if (ver == 0x00 || ver == 0xFF) {
    LOG_ERR("CC1101 not detected (VERSION=0x%02X)", ver);
    return -ENODEV;
  }
  LOG_INF("CC1101 VERSION=0x%02X", ver);

  /* Load register configuration */
  for (size_t i = 0; i < ARRAY_SIZE(cc1101_config); i++) {
    cc1101_write_reg(cc1101_config[i][0], cc1101_config[i][1]);
  }

  /* Load PA table */
  cc1101_write_burst(CC1101_PATABLE, pa_table, sizeof(pa_table));

  /* Configure GDO0 interrupt */
  if (!gpio_is_ready_dt(&gdo0)) {
    LOG_ERR("GDO0 GPIO not ready");
    return -ENODEV;
  }
  gpio_pin_configure_dt(&gdo0, GPIO_INPUT);
  gpio_pin_interrupt_configure_dt(&gdo0, GPIO_INT_EDGE_FALLING);
  gpio_init_callback(&gdo0_cb_data, gdo0_isr, BIT(gdo0.pin));
  gpio_add_callback(gdo0.port, &gdo0_cb_data);

  return 0;
}

void cc1101_set_rx(void) {
  cc1101_strobe(CC1101_SIDLE);
  cc1101_strobe(CC1101_SFRX);
  cc1101_strobe(CC1101_SRX);
}

int cc1101_wait_rx_packet(k_timeout_t timeout) {
  if (k_sem_take(&rx_sem, timeout) != 0) {
    LOG_DBG("RX wait timed out");
    /* Timeout — check MARCSTATE for recovery */
    uint8_t state = cc1101_read_status_reg(CC1101_MARCSTATE) & 0x1F;
    if (state != 0x0D /* RX */ && state != 0x0E /* RX_END */ &&
        state != 0x0F /* RX_RST */ &&
        state < 0x08 /* skip calibration states */) {
      LOG_WRN("CC1101 not in RX (MARCSTATE=0x%02X), recovering", state);
      cc1101_strobe(CC1101_SIDLE);
      cc1101_strobe(CC1101_SFRX);
      cc1101_strobe(CC1101_SRX);
    }
    return -EAGAIN;
  } else {
    LOG_DBG("Packet received, checking RXFIFO");
  }

  /* Check for RXFIFO overflow */
  uint8_t rxbytes = cc1101_read_status_reg(CC1101_RXBYTES);
  if (rxbytes & 0x80) {
    LOG_WRN("RXFIFO overflow, flushing");
    cc1101_strobe(CC1101_SIDLE);
    cc1101_strobe(CC1101_SFRX);
    cc1101_strobe(CC1101_SRX);
    return -EIO;
  }

  return 0;
}

bool cc1101_check_crc(void) {
  uint8_t lqi = cc1101_read_status_reg(CC1101_LQI);
  bool crc_ok = (lqi >> 7) & 0x01;
  if (crc_ok) {
    return true;
  }
  cc1101_strobe(CC1101_SFRX);
  cc1101_strobe(CC1101_SRX);
  return false;
}

uint8_t cc1101_receive_data(uint8_t *buffer) {
  uint8_t rxbytes = cc1101_read_status_reg(CC1101_RXBYTES);
  if (!(rxbytes & BYTES_IN_RXFIFO)) {
    cc1101_strobe(CC1101_SFRX);
    cc1101_strobe(CC1101_SRX);
    return 0;
  }

  uint8_t len = cc1101_read_reg(CC1101_RXFIFO);
  if (len > 64) {
    /* Overflow / garbage — flush */
    cc1101_strobe(CC1101_SFRX);
    cc1101_strobe(CC1101_SRX);
    return 0;
  }

  cc1101_read_burst(CC1101_RXFIFO, buffer, len);

  /* Read & discard the 2 appended status bytes */
  uint8_t status[2];
  cc1101_read_burst(CC1101_RXFIFO, status, 2);

  cc1101_strobe(CC1101_SFRX);
  cc1101_strobe(CC1101_SRX);
  return len;
}

int cc1101_get_rssi(void) {
  int rssi = cc1101_read_status_reg(CC1101_RSSI);
  if (rssi >= 128) {
    rssi = (rssi - 256) / 2 - 74;
  } else {
    rssi = rssi / 2 - 74;
  }
  return rssi;
}

uint8_t cc1101_get_lqi(void) { return cc1101_read_status_reg(CC1101_LQI); }
```

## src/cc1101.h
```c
/*
 * CC1101 Sub-1GHz RF Transceiver — Zephyr driver
 * Direct register-write approach (no high-level abstraction layer).
 *
 * SPDX-License-Identifier: Apache-2.0
 */
#ifndef CC1101_H
#define CC1101_H

#include <stdbool.h>
#include <stdint.h>
#include <zephyr/kernel.h>

/* ── CC1101 configuration registers ─────────────────────────────────── */
#define CC1101_IOCFG2 0x00
#define CC1101_IOCFG1 0x01
#define CC1101_IOCFG0 0x02
#define CC1101_FIFOTHR 0x03
#define CC1101_SYNC1 0x04
#define CC1101_SYNC0 0x05
#define CC1101_PKTLEN 0x06
#define CC1101_PKTCTRL1 0x07
#define CC1101_PKTCTRL0 0x08
#define CC1101_ADDR 0x09
#define CC1101_CHANNR 0x0A
#define CC1101_FSCTRL1 0x0B
#define CC1101_FSCTRL0 0x0C
#define CC1101_FREQ2 0x0D
#define CC1101_FREQ1 0x0E
#define CC1101_FREQ0 0x0F
#define CC1101_MDMCFG4 0x10
#define CC1101_MDMCFG3 0x11
#define CC1101_MDMCFG2 0x12
#define CC1101_MDMCFG1 0x13
#define CC1101_MDMCFG0 0x14
#define CC1101_DEVIATN 0x15
#define CC1101_MCSM2 0x16
#define CC1101_MCSM1 0x17
#define CC1101_MCSM0 0x18
#define CC1101_FOCCFG 0x19
#define CC1101_BSCFG 0x1A
#define CC1101_AGCCTRL2 0x1B
#define CC1101_AGCCTRL1 0x1C
#define CC1101_AGCCTRL0 0x1D
#define CC1101_WOREVT1 0x1E
#define CC1101_WOREVT0 0x1F
#define CC1101_WORCTRL 0x20
#define CC1101_FREND1 0x21
#define CC1101_FREND0 0x22
#define CC1101_FSCAL3 0x23
#define CC1101_FSCAL2 0x24
#define CC1101_FSCAL1 0x25
#define CC1101_FSCAL0 0x26
#define CC1101_RCCTRL1 0x27
#define CC1101_RCCTRL0 0x28
#define CC1101_FSTEST 0x29
#define CC1101_PTEST 0x2A
#define CC1101_AGCTEST 0x2B
#define CC1101_TEST2 0x2C
#define CC1101_TEST1 0x2D
#define CC1101_TEST0 0x2E

/* ── strobe commands ────────────────────────────────────────────────── */
#define CC1101_SRES 0x30
#define CC1101_SFSTXON 0x31
#define CC1101_SXOFF 0x32
#define CC1101_SCAL 0x33
#define CC1101_SRX 0x34
#define CC1101_STX 0x35
#define CC1101_SIDLE 0x36
#define CC1101_SAFC 0x37
#define CC1101_SWOR 0x38
#define CC1101_SPWD 0x39
#define CC1101_SFRX 0x3A
#define CC1101_SFTX 0x3B
#define CC1101_SWORRST 0x3C
#define CC1101_SNOP 0x3D

/* ── status registers (read with burst bit set) ─────────────────────── */
#define CC1101_PARTNUM 0x30
#define CC1101_VERSION 0x31
#define CC1101_FREQEST 0x32
#define CC1101_LQI 0x33
#define CC1101_RSSI 0x34
#define CC1101_MARCSTATE 0x35
#define CC1101_WORTIME1 0x36
#define CC1101_WORTIME0 0x37
#define CC1101_PKTSTATUS 0x38
#define CC1101_VCO_VC_DAC 0x39
#define CC1101_TXBYTES 0x3A
#define CC1101_RXBYTES 0x3B

/* ── FIFO addresses ─────────────────────────────────────────────────── */
#define CC1101_PATABLE 0x3E
#define CC1101_TXFIFO 0x3F
#define CC1101_RXFIFO 0x3F

/* ── public API ─────────────────────────────────────────────────────── */
int cc1101_init(void);
void cc1101_set_rx(void);
int cc1101_wait_rx_packet(k_timeout_t timeout);
bool cc1101_check_crc(void);
uint8_t cc1101_receive_data(uint8_t *buffer);
int cc1101_get_rssi(void);
uint8_t cc1101_get_lqi(void);

/* low-level access (useful for debug register dumps) */
uint8_t cc1101_read_reg(uint8_t addr);
uint8_t cc1101_read_status_reg(uint8_t addr);
void cc1101_write_reg(uint8_t addr, uint8_t value);

#endif /* CC1101_H */
```

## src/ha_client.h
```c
/*
 * Home Assistant Mobile App integration client
 *
 * SPDX-License-Identifier: Apache-2.0
 */
#ifndef HA_CLIENT_H
#define HA_CLIENT_H

#include <stdbool.h>
#include <stdint.h>

/**
 * Register this device with Home Assistant and register all sensor
 * types. Must be called once after network is up.
 *
 * @return 0 on success, negative errno on failure
 */
int ha_init(void);

/**
 * Update a binary sensor state in Home Assistant.
 *
 * @param dev_id     4-byte device ID from the RF packet
 * @param suffix     "tamper" or "reed"
 * @param state      true = on, false = off
 * @param rssi       RSSI value
 * @param lqi        LQI value
 * @return 0 on success, negative errno on failure
 */
int ha_update_sensor(uint32_t dev_id, const char *suffix, bool state, int rssi,
                     uint8_t lqi);

/**
 * Update the battery voltage sensor in Home Assistant.
 *
 * @param dev_id      4-byte device ID from the RF packet
 * @param battery_mv  Battery voltage in millivolts
 * @param rssi        RSSI value
 * @param lqi         LQI value
 * @return 0 on success, negative errno on failure
 */
int ha_update_battery(uint32_t dev_id, uint16_t battery_mv, int rssi,
                      uint8_t lqi);

bool ha_is_registered(void);
#endif /* HA_CLIENT_H */
```
